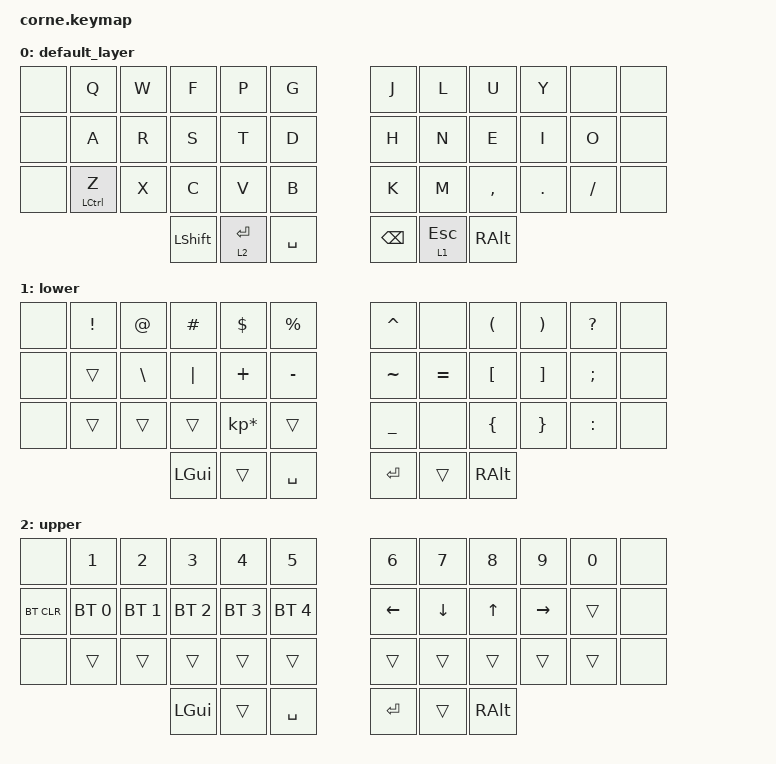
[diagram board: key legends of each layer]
/*
 * Copyright (c) 2020 The ZMK Contributors
 *
 * SPDX-License-Identifier: MIT
 */

#include <behaviors.dtsi>
#include <dt-bindings/zmk/bt.h>
#include <dt-bindings/zmk/keys.h>

/ {
    keymap {
        compatible = "zmk,keymap";

        default_layer {
            // -----------------------------------------------------------------------------------------
            // |  TAB |  Q  |  W  |  E  |  R  |  T  |   |  Y  |  U   |  I  |  O  |  P  | BKSP |
            // | CTRL |  A  |  S  |  D  |  F  |  G  |   |  H  |  J   |  K  |  L  |  ;  |  '   |
            // | SHFT |  Z  |  X  |  C  |  V  |  B  |   |  N  |  M   |  ,  |  .  |  /  | ESC  |
            //                    | GUI | LWR | SPC |   | ENT | RSE  | ALT |

            bindings = <
&none  &kp Q        &kp W  &kp F           &kp P        &kp G        &kp J          &kp L      &kp U      &kp Y    &none     &none
&none  &kp A        &kp R  &kp S           &kp T        &kp D        &kp H          &kp N      &kp E      &kp I    &kp O     &none
&none  &mt LCTRL Z  &kp X  &kp C           &kp V        &kp B        &kp K          &kp M      &kp COMMA  &kp DOT  &kp FSLH  &none
                           &kp LEFT_SHIFT  &lt 2 ENTER  &kp SPACE    &kp BACKSPACE  &lt 1 ESC  &kp RALT
            >;
        };

        lower {
            // -----------------------------------------------------------------------------------------
            // |  TAB |  !  |  @  |  #  |  $  |  %  |   |  ^  |  &  |  *  |  (  |  )  | BKSP |
            // | CTRL |     |     |     |     |     |   |  -  |  =  |  [  |  ]  |  \  |  `   |
            // | SHFT |     |     |     |     |     |   |  _  |  +  |  {  |  }  | "|" |  ~   |
            //                    | GUI |     | SPC |   | ENT |     | ALT |

            bindings = <
&none  &kp EXCL  &kp AT    &kp HASH  &kp DLLR         &kp PRCNT    &kp CARET  &none      &kp LEFT_PARENTHESIS  &kp RIGHT_PARENTHESIS  &kp QUESTION   &none
&none  &trans    &kp BSLH  &kp PIPE  &kp PLUS         &kp MINUS    &kp TILDE  &kp EQUAL  &kp LBKT              &kp RBKT               &kp SEMICOLON  &none
&none  &trans    &trans    &trans    &kp KP_MULTIPLY  &trans       &kp UNDER  &none      &kp LBRC              &kp RBRC               &kp COLON      &none
                           &kp LGUI  &trans           &kp SPACE    &kp RET    &trans     &kp RALT
            >;
        };

        upper {
            // -----------------------------------------------------------------------------------------
            // |  TAB |  1  |  2  |  3  |  4  |  5  |   |  6  |  7  |  8  |  9  |  0  | BKSP |
            // | BTCLR| BT1 | BT2 | BT3 | BT4 | BT5 |   | LFT | DWN |  UP | RGT |     |      |
            // | SHFT |     |     |     |     |     |   |     |     |     |     |     |      |
            //                    | GUI |     | SPC |   | ENT |     | ALT |

            bindings = <
&none       &kp N1        &kp N2        &kp N3        &kp N4        &kp N5          &kp N6    &kp N7    &kp N8    &kp N9     &kp N0  &none
&bt BT_CLR  &bt BT_SEL 0  &bt BT_SEL 1  &bt BT_SEL 2  &bt BT_SEL 3  &bt BT_SEL 4    &kp LEFT  &kp DOWN  &kp UP    &kp RIGHT  &trans  &none
&none       &trans        &trans        &trans        &trans        &trans          &trans    &trans    &trans    &trans     &trans  &none
                                        &kp LGUI      &trans        &kp SPACE       &kp RET   &trans    &kp RALT
            >;
        };
    };
};
